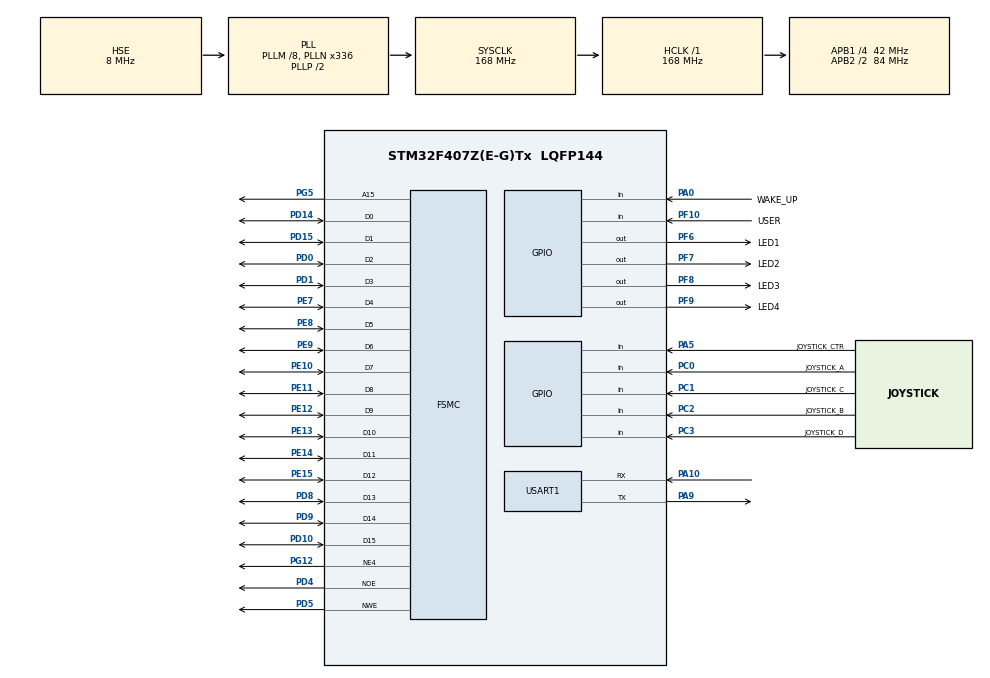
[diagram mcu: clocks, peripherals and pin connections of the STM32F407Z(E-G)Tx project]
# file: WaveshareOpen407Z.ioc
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Mcu.Family=STM32F4
Mcu.Name=STM32F407Z(E-G)Tx
Mcu.Package=LQFP144
NVIC.PriorityGroup=NVIC_PRIORITYGROUP_4
NVIC.USART1_IRQn=true\:0\:0\:false\:false\:true\:true
PA0-WKUP.GPIO_Label=WAKE_UP
PA0-WKUP.Signal=GPIO_Input
PA10.Mode=Asynchronous
PA10.Signal=USART1_RX
PA5.GPIO_Label=JOYSTICK_CTR
PA5.Signal=GPIO_Input
PA9.Mode=Asynchronous
PA9.Signal=USART1_TX
PC0.GPIO_Label=JOYSTICK_A
PC0.Signal=GPIO_Input
PC1.GPIO_Label=JOYSTICK_C
PC1.Signal=GPIO_Input
PC2.GPIO_Label=JOYSTICK_B
PC2.Signal=GPIO_Input
PC3.GPIO_Label=JOYSTICK_D
PC3.Signal=GPIO_Input
PD0.Signal=FSMC_D2_DA2
PD1.Signal=FSMC_D3_DA3
PD10.Signal=FSMC_D15_DA15
PD14.Signal=FSMC_D0_DA0
PD15.Signal=FSMC_D1_DA1
PD4.Signal=FSMC_NOE
PD5.Signal=FSMC_NWE
PD8.Signal=FSMC_D13_DA13
PD9.Signal=FSMC_D14_DA14
PE10.Signal=FSMC_D7_DA7
PE11.Signal=FSMC_D8_DA8
PE12.Signal=FSMC_D9_DA9
PE13.Signal=FSMC_D10_DA10
PE14.Signal=FSMC_D11_DA11
PE15.Signal=FSMC_D12_DA12
PE2.Signal=FSMC_A23
PE7.Signal=FSMC_D4_DA4
PE8.Signal=FSMC_D5_DA5
PE9.Signal=FSMC_D6_DA6
PF10.GPIO_Label=USER
PF10.Signal=GPIO_Input
PF6.GPIO_Label=LED1
PF6.Signal=GPIO_Output
PF7.GPIO_Label=LED2
PF7.Signal=GPIO_Output
PF8.GPIO_Label=LED3
PF8.Signal=GPIO_Output
PF9.GPIO_Label=LED4
PF9.Signal=GPIO_Output
PG12.Mode=NorPsramChipSelect4_1
PG12.Signal=FSMC_NE4
PG13.Signal=FSMC_A24
PG5.Signal=FSMC_A15
PH0-OSC_IN.Mode=HSE-External-Oscillator
PH0-OSC_IN.Signal=RCC_OSC_IN
PH1-OSC_OUT.Mode=HSE-External-Oscillator
PH1-OSC_OUT.Signal=RCC_OSC_OUT
ProjectManager.HeapSize=0x200
ProjectManager.StackSize=0x400
ProjectManager.TargetToolchain=EWARM
RCC.48MHZClocksFreq_Value=84000000
RCC.AHBFreq_Value=168000000
RCC.APB1CLKDivider=RCC_HCLK_DIV4
RCC.APB1Freq_Value=42000000
RCC.APB1TimFreq_Value=84000000
RCC.APB2CLKDivider=RCC_HCLK_DIV2
RCC.APB2Freq_Value=84000000
RCC.APB2TimFreq_Value=168000000
RCC.CortexFreq_Value=168000000
RCC.HCLKFreq_Value=168000000
RCC.HSE_VALUE=8000000
RCC.HSI_VALUE=16000000
RCC.LSE_VALUE=32768
RCC.PLLM=8
RCC.PLLN=336
RCC.PLLSourceVirtual=RCC_PLLSOURCE_HSE
RCC.SYSCLKFreq_VALUE=168000000
RCC.SYSCLKSource=RCC_SYSCLKSOURCE_PLLCLK
RCC.VCOOutputFreq_Value=336000000
SH.FSMC_A15.0=FSMC_A15,A15_1
SH.FSMC_A23.0=FSMC_A23
SH.FSMC_A24.0=FSMC_A24
SH.FSMC_D0_DA0.0=FSMC_D0,16b-d1
SH.FSMC_D10_DA10.0=FSMC_D10,16b-d1
SH.FSMC_D11_DA11.0=FSMC_D11,16b-d1
SH.FSMC_D12_DA12.0=FSMC_D12,16b-d1
SH.FSMC_D13_DA13.0=FSMC_D13,16b-d1
SH.FSMC_D14_DA14.0=FSMC_D14,16b-d1
SH.FSMC_D15_DA15.0=FSMC_D15,16b-d1
SH.FSMC_D1_DA1.0=FSMC_D1,16b-d1
SH.FSMC_D2_DA2.0=FSMC_D2,16b-d1
SH.FSMC_D3_DA3.0=FSMC_D3,16b-d1
SH.FSMC_D4_DA4.0=FSMC_D4,16b-d1
SH.FSMC_D5_DA5.0=FSMC_D5,16b-d1
SH.FSMC_D6_DA6.0=FSMC_D6,16b-d1
SH.FSMC_D7_DA7.0=FSMC_D7,16b-d1
SH.FSMC_D8_DA8.0=FSMC_D8,16b-d1
SH.FSMC_D9_DA9.0=FSMC_D9,16b-d1
SH.FSMC_NOE.0=FSMC_NOE,Lcd1
SH.FSMC_NWE.0=FSMC_NWE,Lcd1
USART1.HwFlowCtl-Asynchronous=UART_HWCONTROL_NONE
USART1.VirtualMode=VM_ASYNC
board=WaveshareOpen407Z

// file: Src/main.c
/**
  ******************************************************************************
  * File Name          : main.c
  * Description        : Main program body
  ******************************************************************************
  ** This notice applies to any and all portions of this file
  * that are not between comment pairs USER CODE BEGIN and
  * USER CODE END. Other portions of this file, whether
  * inserted by the user or by software development tools
  * are owned by their respective copyright owners.
  *
  * COPYRIGHT(c) 2017 STMicroelectronics
  *
  * Redistribution and use in source and binary forms, with or without modification,
  * are permitted provided that the following conditions are met:
  *   1. Redistributions of source code must retain the above copyright notice,
  *      this list of conditions and the following disclaimer.
  *   2. Redistributions in binary form must reproduce the above copyright notice,
  *      this list of conditions and the following disclaimer in the documentation
  *      and/or other materials provided with the distribution.
  *   3. Neither the name of STMicroelectronics nor the names of its contributors
  *      may be used to endorse or promote products derived from this software
  *      without specific prior written permission.
  *
  * THIS SOFTWARE IS PROVIDED BY THE COPYRIGHT HOLDERS AND CONTRIBUTORS "AS IS"
  * AND ANY EXPRESS OR IMPLIED WARRANTIES, INCLUDING, BUT NOT LIMITED TO, THE
  * IMPLIED WARRANTIES OF MERCHANTABILITY AND FITNESS FOR A PARTICULAR PURPOSE ARE
  * DISCLAIMED. IN NO EVENT SHALL THE COPYRIGHT HOLDER OR CONTRIBUTORS BE LIABLE
  * FOR ANY DIRECT, INDIRECT, INCIDENTAL, SPECIAL, EXEMPLARY, OR CONSEQUENTIAL
  * DAMAGES (INCLUDING, BUT NOT LIMITED TO, PROCUREMENT OF SUBSTITUTE GOODS OR
  * SERVICES; LOSS OF USE, DATA, OR PROFITS; OR BUSINESS INTERRUPTION) HOWEVER
  * CAUSED AND ON ANY THEORY OF LIABILITY, WHETHER IN CONTRACT, STRICT LIABILITY,
  * OR TORT (INCLUDING NEGLIGENCE OR OTHERWISE) ARISING IN ANY WAY OUT OF THE USE
  * OF THIS SOFTWARE, EVEN IF ADVISED OF THE POSSIBILITY OF SUCH DAMAGE.
  *
  ******************************************************************************
  */

#include "main.h"
#include "stm32f4xx_hal.h"
#include "usart.h"
#include "gpio.h"
#include "fsmc.h"

/* USER CODE BEGIN Includes */
#include <string.h>
#include <stdlib.h>
#include "ssd1289.h"

#define UART1_RCV_BUF_SIZE  (1)
#define PARSE_BUF_SIZE      (128)
#define ARG_BUF_SIZE        (32)
#define DELIMITER_CMD_END   ('\n')
#define ELIMITER_CMD_ARG    (' ')

#define CMD_UNKNOWN         (0)
#define CMD_RD              (1)
#define CMD_WR              (2)
/* USER CODE END Includes */

/* USER CODE BEGIN PV */
uint8_t   _g_bufRcv1[UART1_RCV_BUF_SIZE];
char      _g_bufSend1[PARSE_BUF_SIZE];
char      _g_bufParse[PARSE_BUF_SIZE];
char      _g_bufArg[ARG_BUF_SIZE];
uint16_t  _g_parseCount = 0;
uint8_t   _g_regAddr = 0;
uint16_t  _g_regValue = 0;
uint8_t   _g_commandId = CMD_UNKNOWN;
/* Private variables ---------------------------------------------------------*/

/* USER CODE END PV */

void SystemClock_Config(void);

/* USER CODE BEGIN PFP */
/* Private function prototypes -----------------------------------------------*/
void ParseCommand(void)
{
  uint16_t i = 0, j = 0;

  // RD command
  if (_g_bufParse[0] == 'R' && _g_bufParse[1] == 'D')
  {
    // Register address
    for (i = 3; i < _g_parseCount; i++)
    {
      if (_g_bufParse[i] == DELIMITER_CMD_END)
      {
        _g_bufArg[j] = 0;
        break;
      }
      _g_bufArg[j++] = _g_bufParse[i];
    }

    _g_regAddr = atoi(_g_bufArg);
    _g_commandId = CMD_RD;
  }
  else if (_g_bufParse[0] == 'W' && _g_bufParse[1] == 'R')
  {
    // Register address
    for (i = 3; i < _g_parseCount; i++)
    {
      if (_g_bufParse[i] == ELIMITER_CMD_ARG)
      {
        _g_bufArg[j] = 0;
        break;
      }
      _g_bufArg[j++] = _g_bufParse[i];
    }
    _g_regAddr = atoi(_g_bufArg);

    // Register value
    j = 0;
    for (; i < _g_parseCount; i++)
    {
      if (_g_bufParse[i] == DELIMITER_CMD_END)
      {
        _g_bufArg[j] = 0;
        break;
      }
      _g_bufArg[j++] = _g_bufParse[i];
    }
    _g_regValue = atoi(_g_bufArg);

    _g_commandId = CMD_WR;
  }
}
/* USER CODE END PFP */

int main(void)
{

  /* MCU Configuration----------------------------------------------------------*/

  /* Reset of all peripherals, Initializes the Flash interface and the Systick. */
  HAL_Init();

  /* Configure the system clock */
  SystemClock_Config();

  /* Initialize all configured peripherals */
  MX_GPIO_Init();
  MX_USART1_UART_Init();
  MX_FSMC_Init();

  /* USER CODE BEGIN 2 */
  // Enable USART rx interrupt.
  HAL_UART_Receive_IT(&huart1, _g_bufRcv1, UART1_RCV_BUF_SIZE);
  /* USER CODE END 2 */

  /* Infinite loop */
  /* USER CODE BEGIN WHILE */
  while (1)
  {
    if (_g_commandId != CMD_UNKNOWN)
    {
      int len = 0;

      // TODO : Read/Write register.
      if (_g_commandId == CMD_RD)
      {
        _g_regValue = ssd1289_read_reg(_g_regAddr);
        len = sprintf(_g_bufSend1, "RD %d %d%c", _g_regAddr, _g_regValue, DELIMITER_CMD_END);
      }
      else if (_g_commandId == CMD_WR)
      {
        ssd1289_write_reg(_g_regAddr, _g_regValue);
        len = sprintf(_g_bufSend1, "WR%c", DELIMITER_CMD_END);
      }

      HAL_UART_Transmit_IT(&huart1, (uint8_t*)_g_bufSend1, len);

      _g_commandId = CMD_UNKNOWN;
    }
  /* USER CODE END WHILE */

  }

}

/** System Clock Configuration
*/
void SystemClock_Config(void)
{

  RCC_OscInitTypeDef RCC_OscInitStruct;
  RCC_ClkInitTypeDef RCC_ClkInitStruct;

    /**Configure the main internal regulator output voltage
    */
  __HAL_RCC_PWR_CLK_ENABLE();

  __HAL_PWR_VOLTAGESCALING_CONFIG(PWR_REGULATOR_VOLTAGE_SCALE1);

    /**Initializes the CPU, AHB and APB busses clocks
    */
  RCC_OscInitStruct.OscillatorType = RCC_OSCILLATORTYPE_HSE;
  RCC_OscInitStruct.HSEState = RCC_HSE_ON;
  RCC_OscInitStruct.PLL.PLLState = RCC_PLL_ON;
  RCC_OscInitStruct.PLL.PLLSource = RCC_PLLSOURCE_HSE;
  RCC_OscInitStruct.PLL.PLLM = 8;
  RCC_OscInitStruct.PLL.PLLN = 336;
  RCC_OscInitStruct.PLL.PLLP = RCC_PLLP_DIV2;
  RCC_OscInitStruct.PLL.PLLQ = 4;
  if (HAL_RCC_OscConfig(&RCC_OscInitStruct) != HAL_OK)
  {
    _Error_Handler(__FILE__, __LINE__);
  }

    /**Initializes the CPU, AHB and APB busses clocks
    */
  RCC_ClkInitStruct.ClockType = RCC_CLOCKTYPE_HCLK|RCC_CLOCKTYPE_SYSCLK
                              |RCC_CLOCKTYPE_PCLK1|RCC_CLOCKTYPE_PCLK2;
  RCC_ClkInitStruct.SYSCLKSource = RCC_SYSCLKSOURCE_PLLCLK;
  RCC_ClkInitStruct.AHBCLKDivider = RCC_SYSCLK_DIV1;
  RCC_ClkInitStruct.APB1CLKDivider = RCC_HCLK_DIV4;
  RCC_ClkInitStruct.APB2CLKDivider = RCC_HCLK_DIV2;

  if (HAL_RCC_ClockConfig(&RCC_ClkInitStruct, FLASH_LATENCY_5) != HAL_OK)
  {
    _Error_Handler(__FILE__, __LINE__);
  }

    /**Configure the Systick interrupt time
    */
  HAL_SYSTICK_Config(HAL_RCC_GetHCLKFreq()/1000);

    /**Configure the Systick
    */
  HAL_SYSTICK_CLKSourceConfig(SYSTICK_CLKSOURCE_HCLK);

  /* SysTick_IRQn interrupt configuration */
  HAL_NVIC_SetPriority(SysTick_IRQn, 0, 0);
}

/* USER CODE BEGIN 4 */
void HAL_UART_RxCpltCallback(UART_HandleTypeDef *huart)
{
  if (_g_parseCount >= PARSE_BUF_SIZE)
  {

    _g_parseCount = 0;
  }
  _g_bufParse[_g_parseCount++] = _g_bufRcv1[0];

  if (_g_bufRcv1[0] == DELIMITER_CMD_END)
  {
    ParseCommand();
    _g_parseCount = 0;
  }

  // Enable USART rx interrupt.
  HAL_UART_Receive_IT(&huart1, _g_bufRcv1, UART1_RCV_BUF_SIZE);
}
/* USER CODE END 4 */

void _Error_Handler(char * file, int line)
{
  while(1)
  {
  }
}

/************************ (C) COPYRIGHT STMicroelectronics *****END OF FILE****/
